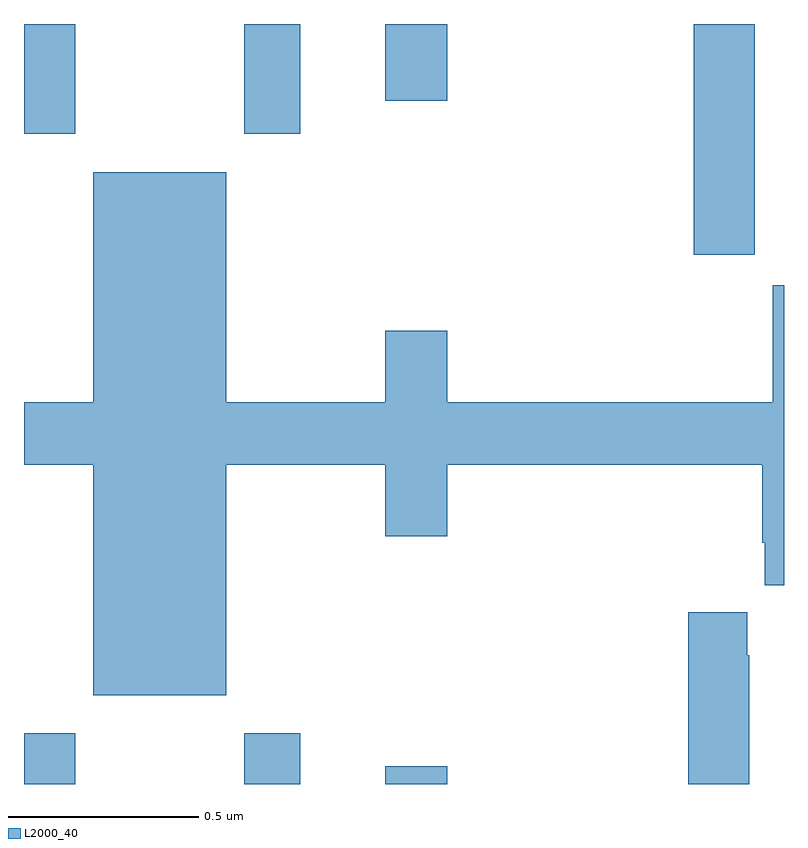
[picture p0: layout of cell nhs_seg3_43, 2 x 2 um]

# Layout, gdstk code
import gdstk
lib = gdstk.Library(unit=1e-6, precision=1e-09)
def R(c, l, rs):  # rectangles x0, y0, x1, y1
    for r in rs: c.add(gdstk.rectangle(r[:2], r[2:], *l))
def P(c, l, *ps):  # polygons
    for p in ps: c.add(gdstk.Polygon(p, *l))
L2000_40 = (2000, 40)

nhs_seg3_43 = lib.new_cell('nhs_seg3_43')
R(nhs_seg3_43, L2000_40, [(111,709.4,111.135,709.534), (111.58,709.4,111.727,709.534), (111.95,709.4,112.114,709.447), (112.763,710.793,112.923,711.4), (111,711.111,111.135,711.4), (111.58,711.111,111.727,711.4), (111.95,711.198,112.114,711.4)])
P(nhs_seg3_43, L2000_40, [(111.532,710.24),(111.95,710.24),(111.95,710.052),(112.114,710.052),(112.114,710.24),(112.943,710.24),(112.943,710.035),(112.949,710.035),(112.949,709.923),(113,709.923),(113,710.713),(112.97,710.713),(112.97,710.404),(112.114,710.404),(112.114,710.593),(111.95,710.593),(111.95,710.404),(111.532,710.404),(111.532,711.01),(111.182,711.01),(111.182,710.404),(111,710.404),(111,710.24),(111.182,710.24),(111.182,709.634),(111.532,709.634)],
  [(112.908,709.739),(112.903,709.739),(112.903,709.852),(112.748,709.852),(112.748,709.4),(112.908,709.4)])

lib.write_gds('nhs_seg3_43.gds')
